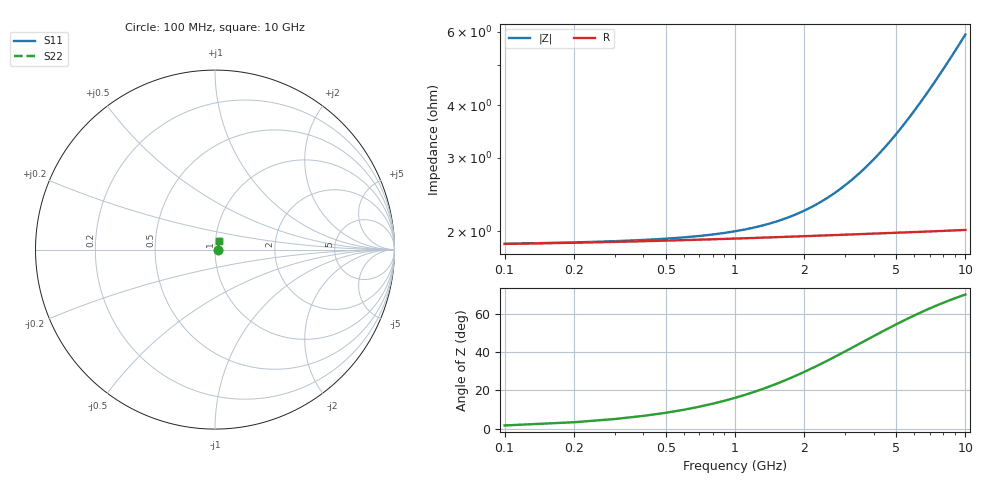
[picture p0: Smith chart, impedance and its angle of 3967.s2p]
# Hz S RI R 50.00
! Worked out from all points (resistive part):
!   100 points, 100 MHz to 10 GHz, reference 50 ohm
!   read as one part in series: R = 1.87 ohm at 100 MHz
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1e8  0.0183 0.000459  0.9817 -0.00061  0.9817 -0.00061  0.0183 0.000459
2e8  0.0184 0.000918  0.9816 -0.00122  0.9816 -0.00122  0.0184 0.000918
7e8  0.0187 0.00321  0.9812 -0.00427  0.9812 -0.00427  0.0187 0.00321
1e9  0.0189 0.00458  0.9811 -0.0061  0.9811 -0.0061  0.0189 0.00458
1.2e9  0.0189 0.0055  0.981 -0.00732  0.981 -0.00732  0.0189 0.0055
1.4e9  0.019 0.00642  0.981 -0.00854  0.981 -0.00854  0.019 0.00642
1.8e9  0.0191 0.00825  0.9808 -0.011  0.9808 -0.011  0.0191 0.00825
2.1e9  0.0192 0.00962  0.9808 -0.0128  0.9808 -0.0128  0.0192 0.00962
2.5e9  0.0194 0.0115  0.9806 -0.0152  0.9806 -0.0152  0.0194 0.0115
2.9e9  0.0195 0.0133  0.9805 -0.0177  0.9805 -0.0177  0.0195 0.0133
3.4e9  0.0196 0.0156  0.9804 -0.0207  0.9804 -0.0207  0.0196 0.0156
4.5e9  0.02 0.0206  0.98 -0.0274  0.98 -0.0274  0.02 0.0206
5.1e9  0.0202 0.0233  0.9798 -0.0311  0.9798 -0.0311  0.0202 0.0233
5.9e9  0.0205 0.027  0.9794 -0.0359  0.9794 -0.0359  0.0205 0.027
6.3e9  0.0207 0.0288  0.9793 -0.0383  0.9793 -0.0383  0.0207 0.0288
6.7e9  0.0208 0.0306  0.9791 -0.0408  0.9791 -0.0408  0.0208 0.0306
7.1e9  0.021 0.0324  0.9789 -0.0432  0.9789 -0.0432  0.021 0.0324
7.5e9  0.0212 0.0343  0.9787 -0.0456  0.9787 -0.0456  0.0212 0.0343
7.9e9  0.0214 0.0361  0.9785 -0.048  0.9785 -0.048  0.0214 0.0361
8.4e9  0.0217 0.0384  0.9782 -0.0511  0.9782 -0.0511  0.0217 0.0384
9.2e9  0.0221 0.042  0.9778 -0.0559  0.9778 -0.0559  0.0221 0.042
1e10  0.0226 0.0456  0.9773 -0.0608  0.9773 -0.0608  0.0226 0.0456
